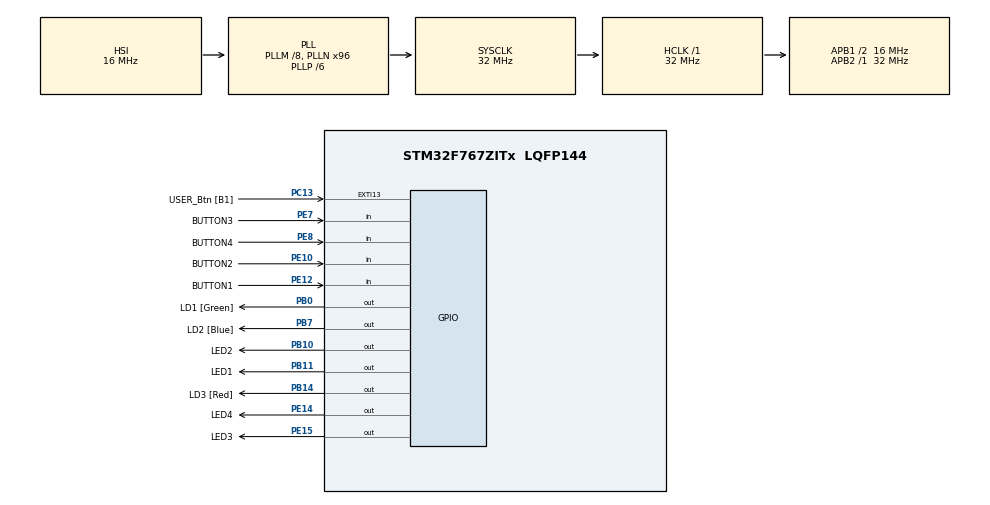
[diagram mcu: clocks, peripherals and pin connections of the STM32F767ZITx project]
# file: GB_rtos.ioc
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FREERTOS.Tasks01=defaultTask,0,128,StartDefaultTask,Default,NULL,Dynamic,NULL,NULL;TaskButton,0,128,StartTaskButton,Default,NULL,Dynamic,NULL,NULL;TaskLed1,-3,128,StartTaskLed1,Default,NULL,Dynamic,NULL,NULL;TaskLed2,-3,128,StartTaskLed2,Default,NULL,Dynamic,NULL,NULL;TaskLed3,-3,128,StartTaskLed3,Default,NULL,Dynamic,NULL,NULL;TaskLed4,-3,128,StartTaskLed4,Default,NULL,Dynamic,NULL,NULL
FREERTOS.configUSE_NEWLIB_REENTRANT=1
FREERTOS.configUSE_TIMERS=1
Mcu.Family=STM32F7
Mcu.Name=STM32F767ZITx
Mcu.Package=LQFP144
NVIC.PriorityGroup=NVIC_PRIORITYGROUP_4
PA13.Mode=Serial_Wire
PA13.Signal=SYS_JTMS-SWDIO
PA14.Mode=Serial_Wire
PA14.Signal=SYS_JTCK-SWCLK
PB0.GPIO_Label=LD1 [Green]
PB0.Signal=GPIO_Output
PB10.GPIO_Label=LED2
PB10.Signal=GPIO_Output
PB11.GPIO_Label=LED1
PB11.Signal=GPIO_Output
PB14.GPIO_Label=LD3 [Red]
PB14.Signal=GPIO_Output
PB7.GPIO_Label=LD2 [Blue]
PB7.Signal=GPIO_Output
PC13.GPIO_Label=USER_Btn [B1]
PC13.Signal=GPXTI13
PC14/OSC32_IN.Mode=LSE-External-Oscillator
PC14/OSC32_IN.Signal=RCC_OSC32_IN
PC15/OSC32_OUT.Mode=LSE-External-Oscillator
PC15/OSC32_OUT.Signal=RCC_OSC32_OUT
PE10.GPIO_Label=BUTTON2
PE10.GPIO_PuPd=GPIO_PULLUP
PE10.Signal=GPIO_Input
PE12.GPIO_Label=BUTTON1
PE12.GPIO_PuPd=GPIO_PULLUP
PE12.Signal=GPIO_Input
PE14.GPIO_Label=LED4
PE14.Signal=GPIO_Output
PE15.GPIO_Label=LED3
PE15.Signal=GPIO_Output
PE7.GPIO_Label=BUTTON3
PE7.GPIO_PuPd=GPIO_PULLUP
PE7.Signal=GPIO_Input
PE8.GPIO_Label=BUTTON4
PE8.GPIO_PuPd=GPIO_PULLUP
PE8.Signal=GPIO_Input
PH0/OSC_IN.Mode=HSE-External-Oscillator
PH0/OSC_IN.Signal=RCC_OSC_IN
PH1/OSC_OUT.Mode=HSE-External-Oscillator
PH1/OSC_OUT.Signal=RCC_OSC_OUT
ProjectManager.HeapSize=0x200
ProjectManager.StackSize=0x400
ProjectManager.TargetToolchain=STM32CubeIDE
RCC.48MHZClocksFreq_Value=24000000
RCC.AHBFreq_Value=32000000
RCC.APB1CLKDivider=RCC_HCLK_DIV2
RCC.APB1Freq_Value=16000000
RCC.APB1TimFreq_Value=32000000
RCC.APB2Freq_Value=32000000
RCC.APB2TimFreq_Value=32000000
RCC.CortexFreq_Value=32000000
RCC.HCLKFreq_Value=32000000
RCC.HSE_VALUE=8000000
RCC.HSI_VALUE=16000000
RCC.PLLM=8
RCC.PLLMUL=RCC_PLL_MUL9
RCC.PLLN=96
RCC.PLLP=RCC_PLLP_DIV6
RCC.PRESCALERUSB=RCC_USBCLKSOURCE_PLL_DIV1_5
RCC.SYSCLKFreq_VALUE=32000000
RCC.SYSCLKSource=RCC_SYSCLKSOURCE_PLLCLK
RCC.SYSCLKSourceVirtual=RCC_SYSCLKSOURCE_PLLCLK
RCC.USBFreq_Value=96000000
RCC.VCOOutputFreq_Value=192000000
VP_FREERTOS_VS_CMSIS_V1.Mode=CMSIS_V1
board=NUCLEO-F767ZI

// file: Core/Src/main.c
/* USER CODE BEGIN Header */
/**
  ******************************************************************************
  * @file           : main.c
  * @brief          : Main program body
  ******************************************************************************
  * @attention
  *
  * Copyright (c) 2023 STMicroelectronics.
  * All rights reserved.
  *
  * This software is licensed under terms that can be found in the LICENSE file
  * in the root directory of this software component.
  * If no LICENSE file comes with this software, it is provided AS-IS.
  *
  ******************************************************************************
  */
/* USER CODE END Header */
#include "main.h"
#include "cmsis_os.h"

/* USER CODE BEGIN PD */
#define BIT_0 (1<<0)
#define BIT_1 (1<<1)
#define BIT_2 (1<<2)
#define BIT_3 (1<<3)
/* USER CODE END PD */

osThreadId defaultTaskHandle;
osThreadId TaskButtonHandle;
osThreadId TaskLed1Handle;
osThreadId TaskLed2Handle;
osThreadId TaskLed3Handle;
osThreadId TaskLed4Handle;
/* USER CODE BEGIN PV */
EventGroupHandle_t eventGroup;
/* USER CODE END PV */

void SystemClock_Config(void);
static void MX_GPIO_Init(void);
void StartDefaultTask(void const * argument);
void StartTaskButton(void const * argument);
void StartTaskLed1(void const * argument);
void StartTaskLed2(void const * argument);
void StartTaskLed3(void const * argument);
void StartTaskLed4(void const * argument);

/* USER CODE BEGIN PFP */
void led_flash(GPIO_TypeDef* port, uint16_t pin);
/* USER CODE END PFP */

int main(void)
{

  /* MCU Configuration--------------------------------------------------------*/

  /* Reset of all peripherals, Initializes the Flash interface and the Systick. */
  HAL_Init();

  /* Configure the system clock */
  SystemClock_Config();

  /* Initialize all configured peripherals */
  MX_GPIO_Init();
  /* USER CODE BEGIN 2 */
    eventGroup = xEventGroupCreate();

  /* USER CODE END 2 */

  /* Create the thread(s) */
  /* definition and creation of defaultTask */
  osThreadDef(defaultTask, StartDefaultTask, osPriorityNormal, 0, 128);
  defaultTaskHandle = osThreadCreate(osThread(defaultTask), NULL);

  /* definition and creation of TaskButton */
  osThreadDef(TaskButton, StartTaskButton, osPriorityNormal, 0, 128);
  TaskButtonHandle = osThreadCreate(osThread(TaskButton), NULL);

  /* definition and creation of TaskLed1 */
  osThreadDef(TaskLed1, StartTaskLed1, osPriorityIdle, 0, 128);
  TaskLed1Handle = osThreadCreate(osThread(TaskLed1), NULL);

  /* definition and creation of TaskLed2 */
  osThreadDef(TaskLed2, StartTaskLed2, osPriorityIdle, 0, 128);
  TaskLed2Handle = osThreadCreate(osThread(TaskLed2), NULL);

  /* definition and creation of TaskLed3 */
  osThreadDef(TaskLed3, StartTaskLed3, osPriorityIdle, 0, 128);
  TaskLed3Handle = osThreadCreate(osThread(TaskLed3), NULL);

  /* definition and creation of TaskLed4 */
  osThreadDef(TaskLed4, StartTaskLed4, osPriorityIdle, 0, 128);
  TaskLed4Handle = osThreadCreate(osThread(TaskLed4), NULL);

  /* Start scheduler */
  osKernelStart();
  /* We should never get here as control is now taken by the scheduler */
  /* Infinite loop */
  while (1)
  {

  }
}

void SystemClock_Config(void)
{
  RCC_OscInitTypeDef RCC_OscInitStruct = {0};
  RCC_ClkInitTypeDef RCC_ClkInitStruct = {0};

  /** Configure LSE Drive Capability
  */
  HAL_PWR_EnableBkUpAccess();

  /** Configure the main internal regulator output voltage
  */
  __HAL_RCC_PWR_CLK_ENABLE();
  __HAL_PWR_VOLTAGESCALING_CONFIG(PWR_REGULATOR_VOLTAGE_SCALE3);

  /** Initializes the RCC Oscillators according to the specified parameters
  * in the RCC_OscInitTypeDef structure.
  */
  RCC_OscInitStruct.OscillatorType = RCC_OSCILLATORTYPE_HSI;
  RCC_OscInitStruct.HSIState = RCC_HSI_ON;
  RCC_OscInitStruct.HSICalibrationValue = RCC_HSICALIBRATION_DEFAULT;
  RCC_OscInitStruct.PLL.PLLState = RCC_PLL_ON;
  RCC_OscInitStruct.PLL.PLLSource = RCC_PLLSOURCE_HSI;
  RCC_OscInitStruct.PLL.PLLM = 8;
  RCC_OscInitStruct.PLL.PLLN = 96;
  RCC_OscInitStruct.PLL.PLLP = RCC_PLLP_DIV6;
  RCC_OscInitStruct.PLL.PLLQ = 2;
  RCC_OscInitStruct.PLL.PLLR = 2;
  if (HAL_RCC_OscConfig(&RCC_OscInitStruct) != HAL_OK)
  {
    Error_Handler();
  }

  /** Initializes the CPU, AHB and APB buses clocks
  */
  RCC_ClkInitStruct.ClockType = RCC_CLOCKTYPE_HCLK|RCC_CLOCKTYPE_SYSCLK
                              |RCC_CLOCKTYPE_PCLK1|RCC_CLOCKTYPE_PCLK2;
  RCC_ClkInitStruct.SYSCLKSource = RCC_SYSCLKSOURCE_PLLCLK;
  RCC_ClkInitStruct.AHBCLKDivider = RCC_SYSCLK_DIV1;
  RCC_ClkInitStruct.APB1CLKDivider = RCC_HCLK_DIV2;
  RCC_ClkInitStruct.APB2CLKDivider = RCC_HCLK_DIV1;

  if (HAL_RCC_ClockConfig(&RCC_ClkInitStruct, FLASH_LATENCY_1) != HAL_OK)
  {
    Error_Handler();
  }
}

static void MX_GPIO_Init(void)
{
  GPIO_InitTypeDef GPIO_InitStruct = {0};

  /* GPIO Ports Clock Enable */
  __HAL_RCC_GPIOC_CLK_ENABLE();
  __HAL_RCC_GPIOH_CLK_ENABLE();
  __HAL_RCC_GPIOB_CLK_ENABLE();
  __HAL_RCC_GPIOE_CLK_ENABLE();
  __HAL_RCC_GPIOA_CLK_ENABLE();

  /*Configure GPIO pin Output Level */
  HAL_GPIO_WritePin(GPIOB, LD1_Pin|LED2_Pin|LED1_Pin|LD3_Pin
                          |LD2_Pin, GPIO_PIN_RESET);

  /*Configure GPIO pin Output Level */
  HAL_GPIO_WritePin(GPIOE, LED4_Pin|LED3_Pin, GPIO_PIN_RESET);

  /*Configure GPIO pin : USER_Btn_Pin */
  GPIO_InitStruct.Pin = USER_Btn_Pin;
  GPIO_InitStruct.Mode = GPIO_MODE_IT_RISING;
  GPIO_InitStruct.Pull = GPIO_NOPULL;
  HAL_GPIO_Init(USER_Btn_GPIO_Port, &GPIO_InitStruct);

  /*Configure GPIO pins : LD1_Pin LED2_Pin LED1_Pin LD3_Pin
                           LD2_Pin */
  GPIO_InitStruct.Pin = LD1_Pin|LED2_Pin|LED1_Pin|LD3_Pin
                          |LD2_Pin;
  GPIO_InitStruct.Mode = GPIO_MODE_OUTPUT_PP;
  GPIO_InitStruct.Pull = GPIO_NOPULL;
  GPIO_InitStruct.Speed = GPIO_SPEED_FREQ_LOW;
  HAL_GPIO_Init(GPIOB, &GPIO_InitStruct);

  /*Configure GPIO pins : BUTTON3_Pin BUTTON4_Pin BUTTON2_Pin BUTTON1_Pin */
  GPIO_InitStruct.Pin = BUTTON3_Pin|BUTTON4_Pin|BUTTON2_Pin|BUTTON1_Pin;
  GPIO_InitStruct.Mode = GPIO_MODE_INPUT;
  GPIO_InitStruct.Pull = GPIO_PULLUP;
  HAL_GPIO_Init(GPIOE, &GPIO_InitStruct);

  /*Configure GPIO pins : LED4_Pin LED3_Pin */
  GPIO_InitStruct.Pin = LED4_Pin|LED3_Pin;
  GPIO_InitStruct.Mode = GPIO_MODE_OUTPUT_PP;
  GPIO_InitStruct.Pull = GPIO_NOPULL;
  GPIO_InitStruct.Speed = GPIO_SPEED_FREQ_LOW;
  HAL_GPIO_Init(GPIOE, &GPIO_InitStruct);

}

/* USER CODE BEGIN 4 */
void led_flash(GPIO_TypeDef* port, uint16_t pin){
    HAL_GPIO_WritePin(port, pin, SET);
    osDelay(100);
    HAL_GPIO_WritePin(port, pin, RESET);
    osDelay(1);
}
/* USER CODE END 4 */

void StartDefaultTask(void const * argument)
{
  /* USER CODE BEGIN 5 */
  /* Infinite loop */
  for(;;)
  {

      osDelay(100);
  }
  /* USER CODE END 5 */
}

void StartTaskButton(void const * argument)
{
  /* USER CODE BEGIN StartTaskButton */
  /* Infinite loop */
  for(;;)
  {
      EventBits_t eventBits;

      if (HAL_GPIO_ReadPin(BUTTON1_GPIO_Port, BUTTON1_Pin) == RESET) {
          xEventGroupSetBits(eventGroup, BIT_0);
      }

      if (HAL_GPIO_ReadPin(BUTTON2_GPIO_Port, BUTTON2_Pin) == RESET) {
          xEventGroupSetBits(eventGroup, BIT_1);
      }

      if (HAL_GPIO_ReadPin(BUTTON3_GPIO_Port, BUTTON3_Pin) == RESET) {
          xEventGroupSetBits(eventGroup, BIT_2);
      }

      if (HAL_GPIO_ReadPin(BUTTON4_GPIO_Port, BUTTON4_Pin) == RESET) {
          xEventGroupSetBits(eventGroup, BIT_3);
      }

      osDelay(2);
  }
  /* USER CODE END StartTaskButton */
}

void StartTaskLed1(void const * argument)
{
  /* USER CODE BEGIN StartTaskLed1 */
  /* Infinite loop */
  for(;;)
  {
      xEventGroupWaitBits(eventGroup, BIT_0|BIT_3, pdTRUE, pdTRUE, portMAX_DELAY);
      led_flash(LED1_GPIO_Port,LED1_Pin);
  }
  /* USER CODE END StartTaskLed1 */
}

void StartTaskLed2(void const * argument)
{
  /* USER CODE BEGIN StartTaskLed2 */
  /* Infinite loop */
  for(;;)
  {
      xEventGroupWaitBits(eventGroup, BIT_0, pdTRUE, pdTRUE, portMAX_DELAY);
      led_flash(LED2_GPIO_Port, LED2_Pin);
  }
  /* USER CODE END StartTaskLed2 */
}

void StartTaskLed3(void const * argument)
{
  /* USER CODE BEGIN StartTaskLed3 */
  /* Infinite loop */
  for(;;)
  {
      xEventGroupWaitBits(eventGroup, BIT_2|BIT_3, pdTRUE, pdTRUE, portMAX_DELAY);
      led_flash(LED3_GPIO_Port, LED3_Pin);
  }
  /* USER CODE END StartTaskLed3 */
}

void StartTaskLed4(void const * argument)
{
  /* USER CODE BEGIN StartTaskLed4 */
  /* Infinite loop */
  for(;;)
  {
      xEventGroupWaitBits(eventGroup, BIT_0|BIT_1|BIT_2|BIT_3, pdTRUE, pdFALSE, portMAX_DELAY);
      HAL_GPIO_WritePin(LED4_GPIO_Port, LED4_Pin, SET);
      osDelay(100);
      HAL_GPIO_WritePin(LED4_GPIO_Port, LED4_Pin, RESET);
      osDelay(1);
  }
  /* USER CODE END StartTaskLed4 */
}

void Error_Handler(void)
{
  __disable_irq();
  while (1)
  {
  }
}

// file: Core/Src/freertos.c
/* USER CODE BEGIN Header */
/**
  ******************************************************************************
  * File Name          : freertos.c
  * Description        : Code for freertos applications
  ******************************************************************************
  * @attention
  *
  * Copyright (c) 2023 STMicroelectronics.
  * All rights reserved.
  *
  * This software is licensed under terms that can be found in the LICENSE file
  * in the root directory of this software component.
  * If no LICENSE file comes with this software, it is provided AS-IS.
  *
  ******************************************************************************
  */
/* USER CODE END Header */

#include "FreeRTOS.h"
#include "task.h"
#include "main.h"

/* GetIdleTaskMemory prototype (linked to static allocation support) */
void vApplicationGetIdleTaskMemory( StaticTask_t **ppxIdleTaskTCBBuffer, StackType_t **ppxIdleTaskStackBuffer, uint32_t *pulIdleTaskStackSize );

/* Hook prototypes */
void configureTimerForRunTimeStats(void);
unsigned long getRunTimeCounterValue(void);

/* USER CODE BEGIN 1 */
/* Functions needed when configGENERATE_RUN_TIME_STATS is on */
__weak void configureTimerForRunTimeStats(void)
{

}

__weak unsigned long getRunTimeCounterValue(void)
{
return 0;
}
/* USER CODE END 1 */

/* USER CODE BEGIN GET_IDLE_TASK_MEMORY */
static StaticTask_t xIdleTaskTCBBuffer;
static StackType_t xIdleStack[configMINIMAL_STACK_SIZE];

void vApplicationGetIdleTaskMemory( StaticTask_t **ppxIdleTaskTCBBuffer, StackType_t **ppxIdleTaskStackBuffer, uint32_t *pulIdleTaskStackSize )
{
  *ppxIdleTaskTCBBuffer = &xIdleTaskTCBBuffer;
  *ppxIdleTaskStackBuffer = &xIdleStack[0];
  *pulIdleTaskStackSize = configMINIMAL_STACK_SIZE;
  /* place for user code */
}
/* USER CODE END GET_IDLE_TASK_MEMORY */
